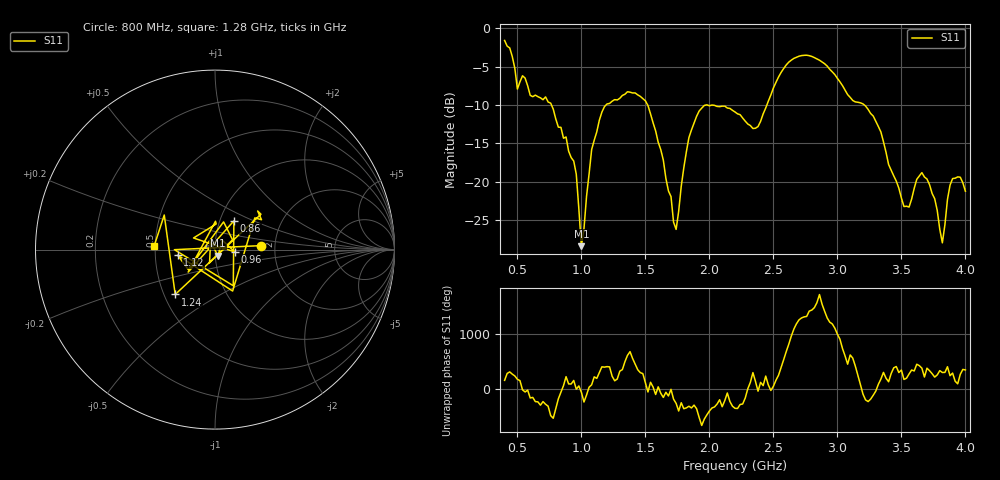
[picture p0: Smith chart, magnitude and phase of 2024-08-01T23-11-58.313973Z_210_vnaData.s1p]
!Created with skrf (http://scikit-rf.org).
# Hz S RI R 50.0
!freq ReS11 ImS11
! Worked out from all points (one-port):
!   181 points, 400 MHz to 4 GHz, reference 50 ohm
!   lowest |S11| = -28.4 dB at 1 GHz (marker M1), VSWR 1.08, Z = 51.6 - j3.51 ohm
!   |S11| at or under -10 dB: 1.517 GHz to 1.978 GHz (460.9 MHz wide, 26.4 % of centre); 1.981 GHz to 2.449 GHz (468 MHz wide, 21.1 % of centre); 3.209 GHz to end of sweep (the widest 3 of 4)
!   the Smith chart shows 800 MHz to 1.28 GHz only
!   S11 on the Smith chart (normalised r, x): 800 MHz: 1.68, +0.08; 860 MHz: 1.17, +0.39; 960 MHz: 1.25, -0.03; 1.12 GHz: 0.65, -0.04; 1.24 GHz: 0.57, -0.32; 1.28 GHz: 0.49, +0.02
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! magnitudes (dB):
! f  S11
! 400 MHz  -1.6
! 500 MHz  -7.9
! 540 MHz  -6.2
! 800 MHz  -11.8
! 860 MHz  -14.3
! 960 MHz  -19.1
! 1 GHz  -28.4
! 1.08 GHz  -15.8
! 1.12 GHz  -13.5
! 1.24 GHz  -9.5
! 1.28 GHz  -9.4
! 1.3 GHz  -9.1
! 1.52 GHz  -10.1
! 1.72 GHz  -25.3
! 1.76 GHz  -23.9
! 1.84 GHz  -14.3
! 1.92 GHz  -10.8
! 2.2 GHz  -10.9
! 2.38 GHz  -12.8
! 2.66 GHz  -3.9
! 3.1 GHz  -9.0
! 3.28 GHz  -11.5
! 3.56 GHz  -23.3
! 3.66 GHz  -18.8
! 3.76 GHz  -22.2
! 3.82 GHz  -28.0
! 3.9 GHz  -19.6
! 4 GHz  -21.3
